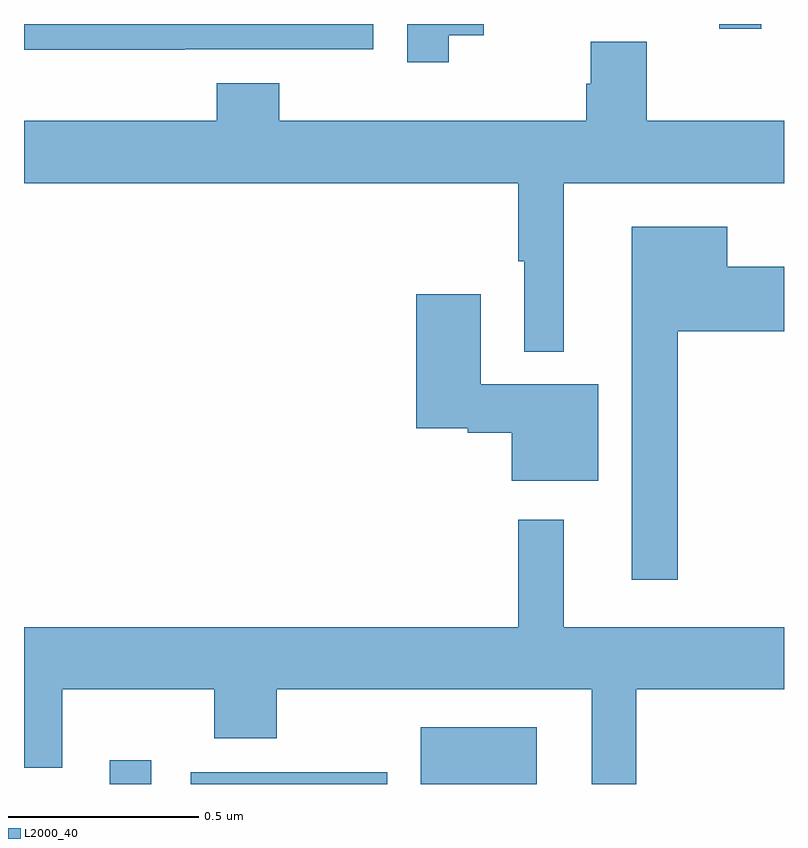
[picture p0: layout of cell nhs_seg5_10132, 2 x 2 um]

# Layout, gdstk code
import gdstk
lib = gdstk.Library(unit=1e-6, precision=1e-09)
def R(c, l, rs):  # rectangles x0, y0, x1, y1
    for r in rs: c.add(gdstk.rectangle(r[:2], r[2:], *l))
def P(c, l, *ps):  # polygons
    for p in ps: c.add(gdstk.Polygon(p, *l))
L2000_40 = (2000, 40)

nhs_seg5_10132 = lib.new_cell('nhs_seg5_10132')
R(nhs_seg5_10132, L2000_40, [(242.226,901.799,242.335,901.861), (242.439,901.799,242.956,901.83), (243.044,901.799,243.349,901.948), (243.829,903.786,243.94,903.799)])
P(nhs_seg5_10132, L2000_40, [(242.423,903.732),(242.919,903.732),(242.919,903.799),(242,903.799),(242,903.731),(242.423,903.731)],
  [(243.118,903.769),(243.21,903.769),(243.21,903.799),(243.009,903.799),(243.009,903.699),(243.118,903.699)],
  [(243.421,903.38),(244,903.38),(244,903.544),(243.639,903.544),(243.639,903.752),(243.491,903.752),(243.491,903.642),(243.479,903.642),(243.479,903.544),(242.672,903.544),(242.672,903.643),(242.507,903.643),(242.507,903.544),(242,903.544),(242,903.38),(243.3,903.38),(243.3,903.175),(243.317,903.175),(243.317,902.936),(243.421,902.936)],
  [(243.721,902.99),(244,902.99),(244,903.16),(243.85,903.16),(243.85,903.265),(243.599,903.265),(243.599,902.337),(243.721,902.337)],
  [(243.511,902.851),(243.202,902.851),(243.202,903.088),(243.032,903.088),(243.032,902.735),(243.168,902.735),(243.168,902.723),(243.284,902.723),(243.284,902.597),(243.511,902.597)],
  [(243.611,902.048),(244,902.048),(244,902.212),(243.421,902.212),(243.421,902.494),(243.3,902.494),(243.3,902.212),(242,902.212),(242,901.842),(242.101,901.842),(242.101,902.048),(242.501,902.048),(242.501,901.92),(242.665,901.92),(242.665,902.048),(243.494,902.048),(243.494,901.799),(243.611,901.799)])

lib.write_gds('nhs_seg5_10132.gds')
